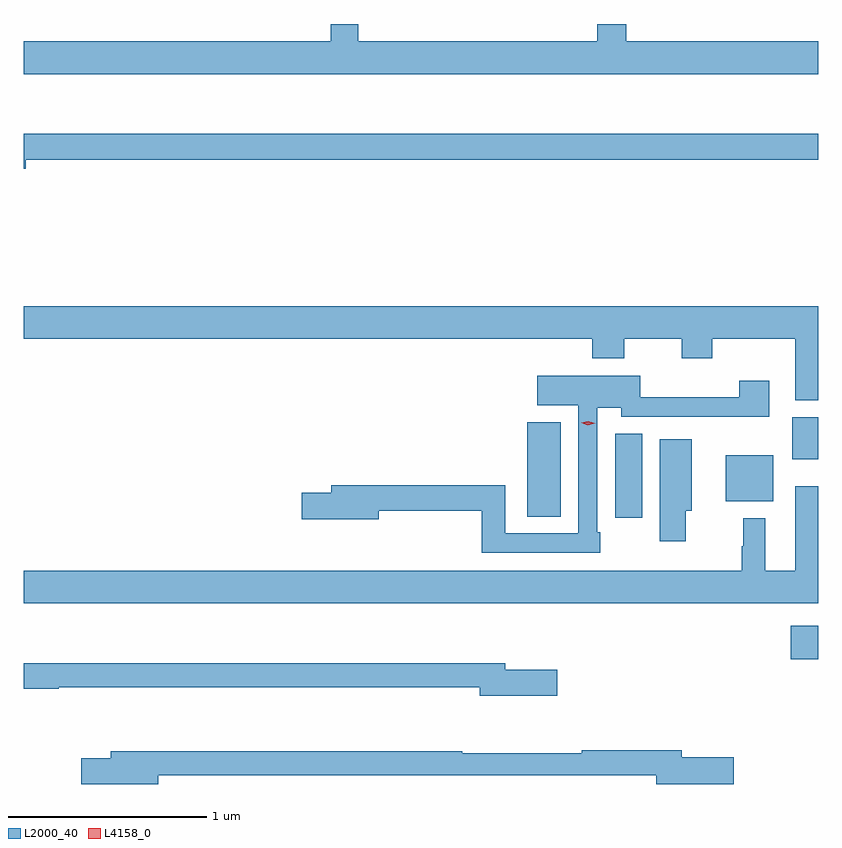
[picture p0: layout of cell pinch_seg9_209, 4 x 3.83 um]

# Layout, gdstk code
import gdstk
lib = gdstk.Library(unit=1e-6, precision=1e-09)
def R(c, l, rs):  # rectangles x0, y0, x1, y1
    for r in rs: c.add(gdstk.rectangle(r[:2], r[2:], *l))
def P(c, l, *ps):  # polygons
    for p in ps: c.add(gdstk.Polygon(p, *l))
L2000_40 = (2000, 40)
L4158_0 = (4158, 0)

pinch_seg9_209 = lib.new_cell('pinch_seg9_209')
R(pinch_seg9_209, L2000_40, [(595.146,1228.106,595.286,1228.276), (594.263,1228.818,594.4,1229.243), (593.822,1228.825,593.989,1229.299), (594.821,1228.901,595.06,1229.134), (595.154,1229.114,595.286,1229.326)])
P(pinch_seg9_209, L2000_40, [(595.286,1231.216),(594.319,1231.216),(594.319,1231.304),(594.172,1231.304),(594.172,1231.216),(592.971,1231.216),(592.971,1231.304),(592.832,1231.304),(592.832,1231.216),(591.286,1231.216),(591.286,1231.052),(595.286,1231.052)],
  [(591.298,1230.622),(595.286,1230.622),(595.286,1230.751),(591.286,1230.751),(591.286,1230.575),(591.298,1230.575)],
  [(595.286,1229.884),(591.286,1229.884),(591.286,1229.72),(594.149,1229.72),(594.149,1229.621),(594.309,1229.621),(594.309,1229.72),(594.598,1229.72),(594.598,1229.621),(594.753,1229.621),(594.753,1229.72),(595.169,1229.72),(595.169,1229.411),(595.286,1229.411)],
  [(594.187,1228.747),(594.174,1228.747),(594.174,1229.372),(594.294,1229.372),(594.294,1229.328),(594.803,1229.328),(594.803,1229.327),(595.039,1229.327),(595.039,1229.509),(594.887,1229.509),(594.887,1229.426),(594.39,1229.426),(594.39,1229.533),(593.871,1229.533),(593.871,1229.384),(594.078,1229.384),(594.078,1228.74),(593.709,1228.74),(593.709,1228.982),(592.835,1228.982),(592.835,1228.946),(592.686,1228.946),(592.686,1228.811),(593.074,1228.811),(593.074,1228.854),(593.593,1228.854),(593.593,1228.644),(594.187,1228.644)],
  [(594.618,1228.853),(594.649,1228.853),(594.649,1229.215),(594.488,1229.215),(594.488,1228.701),(594.618,1228.701)],
  [(595.286,1228.978),(595.169,1228.978),(595.169,1228.552),(595.018,1228.552),(595.018,1228.816),(594.909,1228.816),(594.909,1228.676),(594.901,1228.676),(594.901,1228.552),(591.286,1228.552),(591.286,1228.388),(595.286,1228.388)],
  [(593.971,1228.053),(593.71,1228.053),(593.71,1228.087),(591.286,1228.087),(591.286,1227.958),(591.464,1227.958),(591.464,1227.966),(593.582,1227.966),(593.582,1227.923),(593.971,1227.923)],
  [(591.964,1227.522),(594.47,1227.522),(594.47,1227.479),(594.859,1227.479),(594.859,1227.614),(594.598,1227.614),(594.598,1227.65),(594.094,1227.65),(594.094,1227.635),(593.494,1227.635),(593.494,1227.643),(591.725,1227.643),(591.725,1227.609),(591.576,1227.609),(591.576,1227.479),(591.964,1227.479)])
P(pinch_seg9_209, L4158_0, [(594.126,1229.285),(594.092,1229.296),(594.092,1229.296),(594.092,1229.297),(594.127,1229.305),(594.162,1229.294),(594.162,1229.294),(594.162,1229.294)])

lib.write_gds('pinch_seg9_209.gds')
